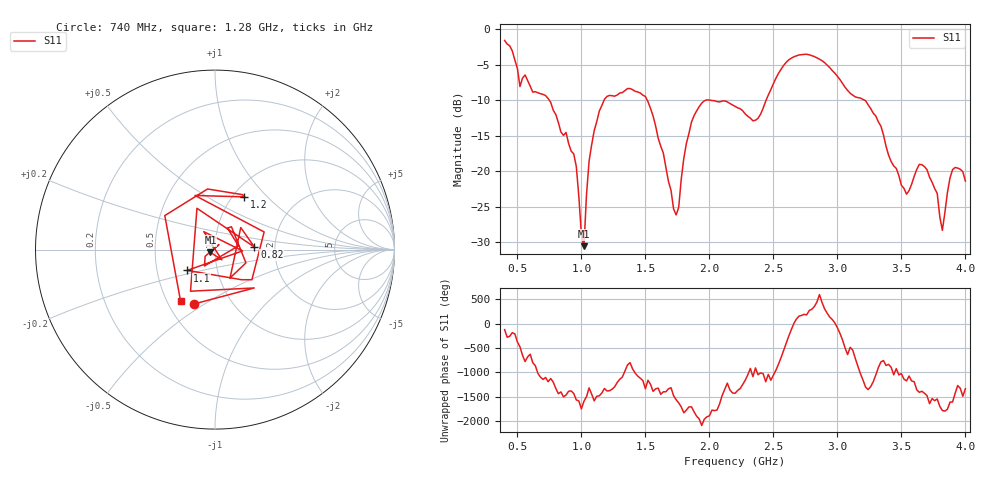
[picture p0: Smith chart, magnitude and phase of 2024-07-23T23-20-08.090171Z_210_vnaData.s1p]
!Created with skrf (http://scikit-rf.org).
# Hz S RI R 50.0
!freq ReS11 ImS11
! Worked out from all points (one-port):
!   181 points, 400 MHz to 4 GHz, reference 50 ohm
!   lowest |S11| = -30.6 dB at 1.02 GHz (marker M1), VSWR 1.06, Z = 47.5 - j1.43 ohm
!   |S11| at or under -10 dB: 1.514 GHz to 1.972 GHz (457.5 MHz wide, 26.2 % of centre); 2.009 GHz to 2.443 GHz (434.3 MHz wide, 19.5 % of centre); 3.213 GHz to end of sweep (the widest 3 of 4)
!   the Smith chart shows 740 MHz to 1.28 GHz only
!   S11 on the Smith chart (normalised r, x): 740 MHz: 0.67, -0.45; 820 MHz: 1.56, +0.05; 1.1 GHz: 0.72, -0.17; 1.2 GHz: 1.13, +0.75; 1.28 GHz: 0.59, -0.38
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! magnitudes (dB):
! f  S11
! 400 MHz  -1.6
! 520 MHz  -8.1
! 740 MHz  -9.8
! 820 MHz  -13.1
! 860 MHz  -14.9
! 960 MHz  -19.3
! 1.02 GHz  -30.6
! 1.06 GHz  -18.6
! 1.1 GHz  -14.3
! 1.2 GHz  -9.5
! 1.28 GHz  -9.3
! 1.3 GHz  -9.0
! 1.5 GHz  -9.5
! 1.72 GHz  -25.3
! 1.76 GHz  -25.1
! 1.82 GHz  -16.1
! 1.9 GHz  -11.5
! 2.2 GHz  -10.8
! 2.38 GHz  -12.5
! 2.66 GHz  -3.9
! 3.1 GHz  -9.0
! 3.3 GHz  -12.2
! 3.56 GHz  -22.7
! 3.7 GHz  -19.8
! 3.78 GHz  -23.1
! 3.82 GHz  -28.3
! 3.9 GHz  -19.8
! 4 GHz  -21.4
